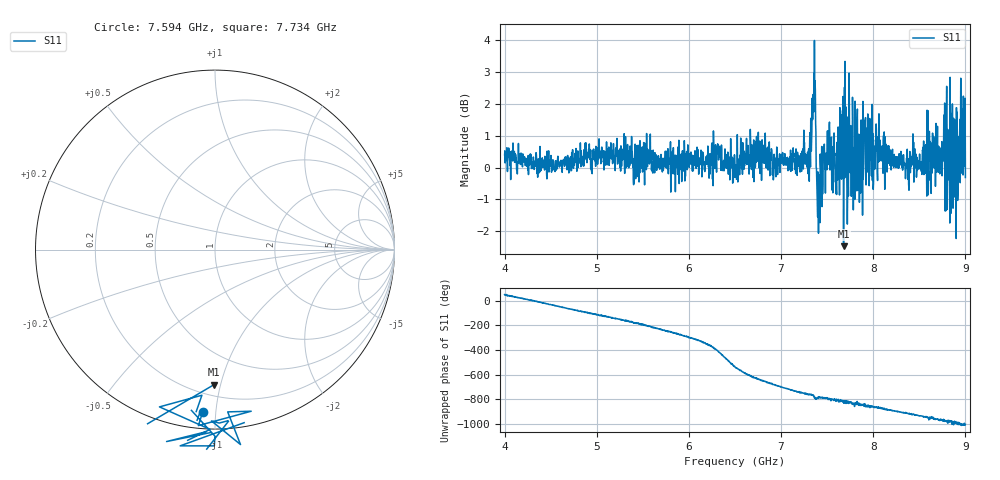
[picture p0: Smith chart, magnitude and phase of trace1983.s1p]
! Created with skrf 1.8.0 (http://scikit-rf.org).
# Hz S RI R 50.0
!freq ReS11 ImS11
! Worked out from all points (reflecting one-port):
!   1601 points, 4 GHz to 9 GHz, reference 50 ohm
!   lowest |S11| = -2.5 dB at 7.678 GHz (marker M1), VSWR 7.06, Z = 13.8 - j47.7 ohm
!   phase of S11 starts at 49 deg and turns -1051 deg over the sweep
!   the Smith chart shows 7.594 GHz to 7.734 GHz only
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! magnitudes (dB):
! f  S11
! 4 GHz  0.4
! 4.625 GHz  -0.2
! 5.25 GHz  0.0
! 5.875 GHz  0.2
! 6.331 GHz  0.5
! 6.5 GHz  0.0
! 6.728 GHz  0.8
! 7.125 GHz  0.4
! 7.294 GHz  -0.2
! 7.347 GHz  2.3
! 7.362 GHz  4.0
! 7.397 GHz  -1.6
! 7.412 GHz  -1.1
! 7.522 GHz  1.3
! 7.588 GHz  0.0
! 7.65 GHz  1.2
! 7.678 GHz  -2.5
! 7.703 GHz  0.2
! 7.75 GHz  0.7
! 7.784 GHz  -1.3
! 7.859 GHz  0.6
! 7.928 GHz  1.2
! 7.981 GHz  -0.3
! 8.375 GHz  -0.1
! 8.775 GHz  2.0
! 8.875 GHz  0.5
! 8.972 GHz  0.6
! 9 GHz  -0.3
